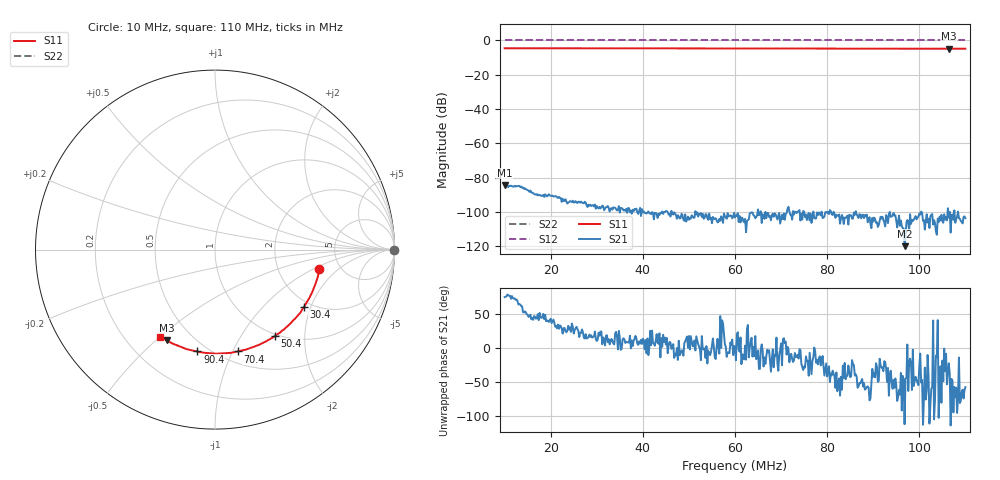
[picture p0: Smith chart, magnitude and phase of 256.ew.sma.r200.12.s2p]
! Anritsu VNA Master:  Model: MS2036C/10/77
! SN:  1601066
! /card0/usr/256.ew.sma.r200.12.s2p
! Existing Calibration Information:
! TYPE:  Current Settings,  Active Cal Settings
! TIME:  12/19/2017 02:35:33 PM,  12/19/2017 02:22:10 PM
! INTERNAL TEMP:  46.3 C,  45.0 C
! # POINTS:  501,  501
! START FREQ:  10.000 MHz,  10.000 MHz
! STOP FREQ:  110.000 MHz,  110.000 MHz
! SOURCE POWER:  High,  High
! IFBW:  100 Hz,  100 Hz
! AVG FACTOR:  1 ,  1
! REF PLANE 1:  0 mm,  0 mm
! REF PLANE 2:  0 mm,  0 mm
! CAL TYPE:  Full S11,  Full S11
! CAL METHOD:  SOLT,  SOLT
! CAL LINE TYPE:  Coax,  Coax
! DUT PORT 1:  N-Conn(F),  N-Conn(F)
! DUT PORT 2:  K-Conn(F),  K-Conn(F)
! CAL STATUS:  OK: Accuracy High,  --
# GHZ S RI R 50.0
! FREQ.GHZ  S11RE  S11IM  S21RE  S21IM  S12RE  S12IM  S22RE  S22IM
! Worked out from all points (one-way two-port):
!   501 points, 10 MHz to 110 MHz, reference 50 ohm
!   highest |S21| = -84.27 dB at 10 MHz (marker M1); lowest = -120.1 dB at 96.8 MHz (marker M2)
!   lowest |S11| = -4.8 dB at 106.4 MHz (marker M3), VSWR 3.68, Z = 18 - j27.1 ohm
!   |S11| at or under -10 dB: nowhere
!   |S22| runs from 0.0 to 0.0 dB; largest |S21 - S12| = 1
!   S11 on the Smith chart (normalised r, x): 10 MHz: 3.46, -1.18; 30.4 MHz: 1.81, -1.78; 50.4 MHz: 0.97, -1.43; 70.4 MHz: 0.61, -1.04; 90.4 MHz: 0.44, -0.74; 110 MHz: 0.35, -0.50
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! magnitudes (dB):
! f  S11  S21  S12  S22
! 10 MHz  -4.6  -84.3  0.0  0.0
! 26.8 MHz  -4.6  -94.7  0.0  0.0
! 30.4 MHz  -4.6  -98.1  0.0  0.0
! 33.2 MHz  -4.6  -97.9  0.0  0.0
! 35.6 MHz  -4.6  -98.2  0.0  0.0
! 37.2 MHz  -4.6  -100.3  0.0  0.0
! 38.8 MHz  -4.6  -100.4  0.0  0.0
! 40.6 MHz  -4.6  -100.7  0.0  0.0
! 43.4 MHz  -4.6  -101.2  0.0  0.0
! 44.6 MHz  -4.6  -100.2  0.0  0.0
! 50.4 MHz  -4.6  -104.0  0.0  0.0
! 60 MHz  -4.7  -103.3  0.0  0.0
! 70.4 MHz  -4.7  -104.3  0.0  0.0
! 73.8 MHz  -4.7  -99.8  0.0  0.0
! 76.8 MHz  -4.7  -104.1  0.0  0.0
! 88.4 MHz  -4.8  -102.6  0.0  0.0
! 90.4 MHz  -4.8  -104.2  0.0  0.0
! 93.4 MHz  -4.8  -101.4  0.0  0.0
! 96.8 MHz  -4.8  -120.1  0.0  0.0
! 100.4 MHz  -4.8  -99.8  0.0  0.0
! 106.4 MHz  -4.8  -103.4  0.0  0.0
! 110 MHz  -4.8  -103.7  0.0  0.0
